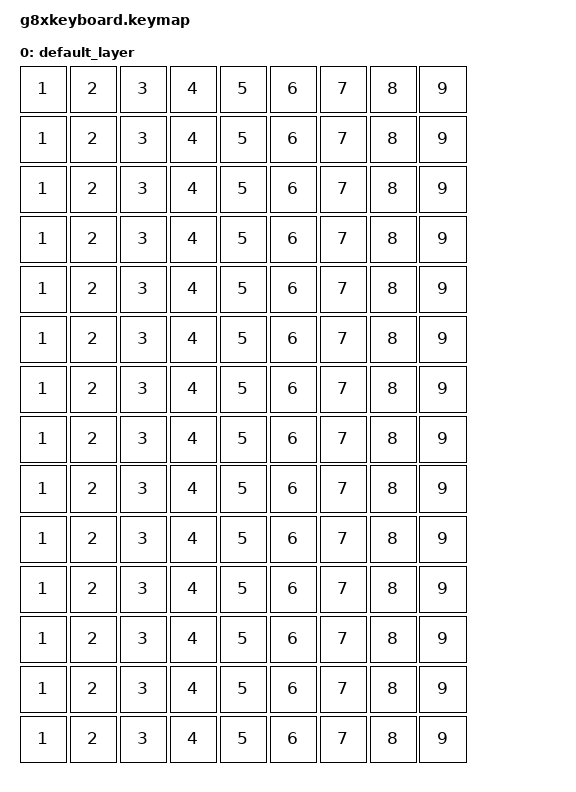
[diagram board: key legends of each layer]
#include <behaviors.dtsi>
#include <dt-bindings/zmk/keys.h>

/ {
    keymap {
        compatible = "zmk,keymap";

        default_layer {

            bindings = <
                &kp N1	&kp N2	&kp N3	&kp N4	&kp N5	&kp N6	&kp N7	&kp N8	&kp N9
                &kp N1	&kp N2	&kp N3	&kp N4	&kp N5	&kp N6	&kp N7	&kp N8	&kp N9
                &kp N1	&kp N2	&kp N3	&kp N4	&kp N5	&kp N6	&kp N7	&kp N8	&kp N9
                &kp N1	&kp N2	&kp N3	&kp N4	&kp N5	&kp N6	&kp N7	&kp N8	&kp N9
                &kp N1	&kp N2	&kp N3	&kp N4	&kp N5	&kp N6	&kp N7	&kp N8	&kp N9
                &kp N1	&kp N2	&kp N3	&kp N4	&kp N5	&kp N6	&kp N7	&kp N8	&kp N9
                &kp N1	&kp N2	&kp N3	&kp N4	&kp N5	&kp N6	&kp N7	&kp N8	&kp N9
                &kp N1	&kp N2	&kp N3	&kp N4	&kp N5	&kp N6	&kp N7	&kp N8	&kp N9
                &kp N1	&kp N2	&kp N3	&kp N4	&kp N5	&kp N6	&kp N7	&kp N8	&kp N9
                &kp N1	&kp N2	&kp N3	&kp N4	&kp N5	&kp N6	&kp N7	&kp N8	&kp N9
                &kp N1	&kp N2	&kp N3	&kp N4	&kp N5	&kp N6	&kp N7	&kp N8	&kp N9
                &kp N1	&kp N2	&kp N3	&kp N4	&kp N5	&kp N6	&kp N7	&kp N8	&kp N9
                &kp N1	&kp N2	&kp N3	&kp N4	&kp N5	&kp N6	&kp N7	&kp N8	&kp N9
                &kp N1	&kp N2	&kp N3	&kp N4	&kp N5	&kp N6	&kp N7	&kp N8	&kp N9

            >;

        };
    };
};
